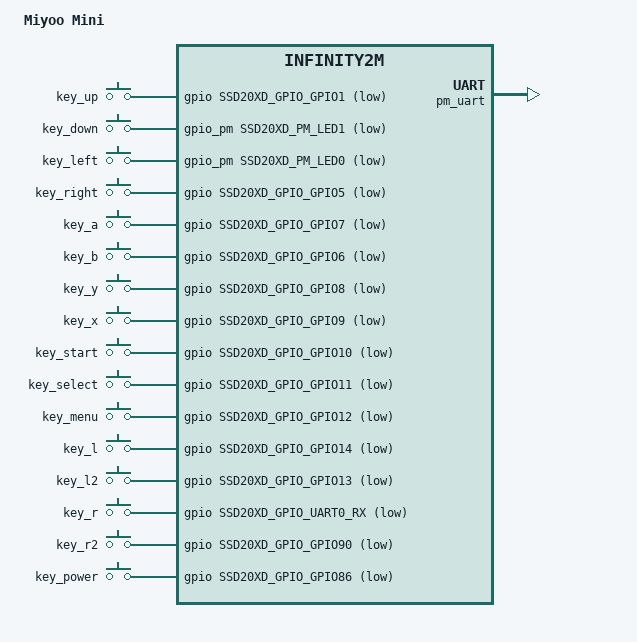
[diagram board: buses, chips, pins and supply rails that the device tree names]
// SPDX-License-Identifier: GPL-2.0-or-later
/*
 * Copyright (c) 2021 thingy.jp.
 * Author: Daniel Palmer <daniel@thingy.jp>
 */

/dts-v1/;
#include "mstar-infinity2m-ssd202d.dtsi"

/ {
	model = "Miyoo Mini";
	compatible = "miyoo,miyoo-mini", "mstar,infinity2m";

	aliases {
		serial0 = &pm_uart;
	};

	chosen {
		stdout-path = "serial0:115200n8";
		bootargs = "console=ttyS0,115200 clk_ignore_unused earlyprintk";
	};

	gpio-keys {
		compatible = "gpio-keys-polled";
		poll-interval = <100>;

		key_up {
			label = "key_up";
			gpios = <&gpio SSD20XD_GPIO_GPIO1 GPIO_ACTIVE_LOW>;
			linux,code = <0x100>; /* BTN_0 */
		};

		key_down {
			label = "key_down";
			gpios = <&gpio_pm SSD20XD_PM_LED1 GPIO_ACTIVE_LOW>;
			linux,code = <0x100>; /* BTN_0 */
		};

		key_left {
			label = "key_left";
			gpios = <&gpio_pm SSD20XD_PM_LED0 GPIO_ACTIVE_LOW>;
			linux,code = <0x100>; /* BTN_0 */
		};

		key_right {
			label = "key_right";
			gpios = <&gpio SSD20XD_GPIO_GPIO5 GPIO_ACTIVE_LOW>;
			linux,code = <0x100>; /* BTN_0 */
		};

		key_a {
			label = "key_a";
			gpios = <&gpio SSD20XD_GPIO_GPIO7 GPIO_ACTIVE_LOW>;
			linux,code = <0x100>; /* BTN_0 */
		};

		key_b {
			label = "key_b";
			gpios = <&gpio SSD20XD_GPIO_GPIO6 GPIO_ACTIVE_LOW>;
			linux,code = <0x100>; /* BTN_0 */
		};

		key_y {
			label = "key_y";
			gpios = <&gpio SSD20XD_GPIO_GPIO8 GPIO_ACTIVE_LOW>;
			linux,code = <0x100>; /* BTN_0 */
		};

		key_x {
			label = "key_x";
			gpios = <&gpio SSD20XD_GPIO_GPIO9 GPIO_ACTIVE_LOW>;
			linux,code = <0x100>; /* BTN_0 */
		};

		key_start {
			label = "key_start";
			gpios = <&gpio SSD20XD_GPIO_GPIO10 GPIO_ACTIVE_LOW>;
			linux,code = <0x100>; /* BTN_0 */
		};

		key_select {
			label = "key_select";
			gpios = <&gpio SSD20XD_GPIO_GPIO11 GPIO_ACTIVE_LOW>;
			linux,code = <0x100>; /* BTN_0 */
		};

		key_menu {
			label = "key_menu";
			gpios = <&gpio SSD20XD_GPIO_GPIO12 GPIO_ACTIVE_LOW>;
			linux,code = <0x100>; /* BTN_0 */
		};

		key_l {
			label = "key_l";
			gpios = <&gpio SSD20XD_GPIO_GPIO14 GPIO_ACTIVE_LOW>;
			linux,code = <0x100>; /* BTN_0 */
		};

		key_l2 {
			label = "key_l2";
			gpios = <&gpio SSD20XD_GPIO_GPIO13 GPIO_ACTIVE_LOW>;
			linux,code = <0x100>; /* BTN_0 */
		};

		key_r {
			label = "key_r";
			gpios = <&gpio SSD20XD_GPIO_UART0_RX GPIO_ACTIVE_LOW>;
			linux,code = <0x100>; /* BTN_0 */
		};

		key_r2 {
			label = "key_r2";
			gpios = <&gpio SSD20XD_GPIO_GPIO90 GPIO_ACTIVE_LOW>;
			linux,code = <0x100>; /* BTN_0 */
		};

		key_power {
			label = "key_power";
			gpios = <&gpio SSD20XD_GPIO_GPIO86 GPIO_ACTIVE_LOW>;
			linux,code = <0x100>; /* BTN_0 */
		};
	};
};

&pm_uart {
	status = "okay";
};
